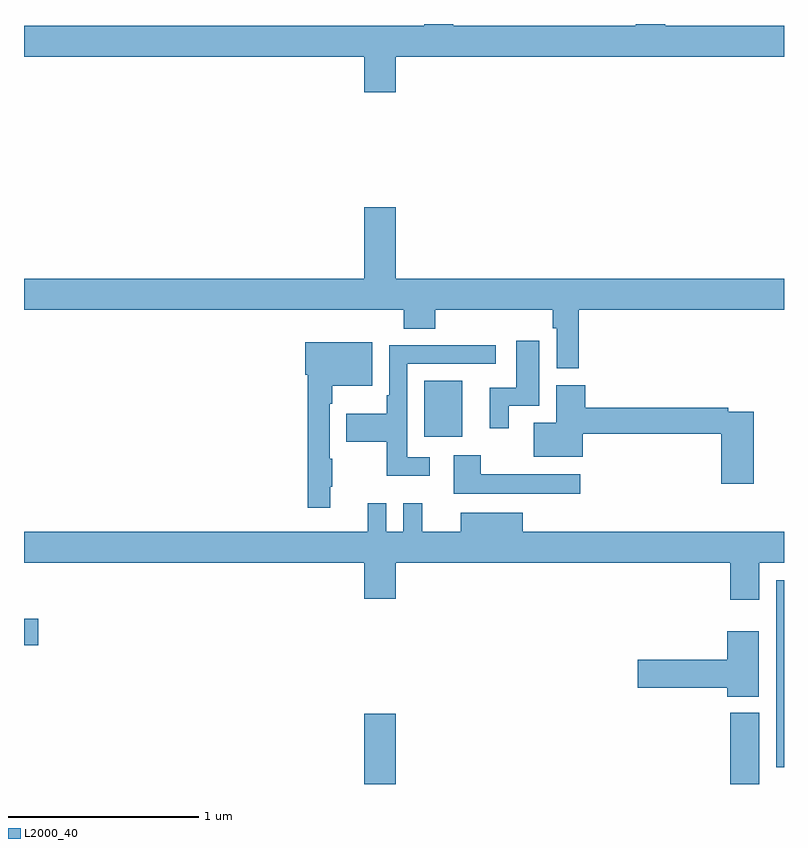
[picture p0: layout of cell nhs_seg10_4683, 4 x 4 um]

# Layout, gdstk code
import gdstk
lib = gdstk.Library(unit=1e-6, precision=1e-09)
def R(c, l, rs):  # rectangles x0, y0, x1, y1
    for r in rs: c.add(gdstk.rectangle(r[:2], r[2:], *l))
def P(c, l, *ps):  # polygons
    for p in ps: c.add(gdstk.Polygon(p, *l))
L2000_40 = (2000, 40)

nhs_seg10_4683 = lib.new_cell('nhs_seg10_4683')
R(nhs_seg10_4683, L2000_40, [(380.792,1284.5,380.956,1284.871), (382.718,1284.5,382.87,1284.874), (382.959,1284.588,383,1285.572), (379,1285.229,379.075,1285.371), (381.107,1286.327,381.307,1286.623)])
P(nhs_seg10_4683, L2000_40, [(380.956,1288.328),(383,1288.328),(383,1288.492),(382.376,1288.492),(382.376,1288.5),(382.219,1288.5),(382.219,1288.492),(381.259,1288.492),(381.259,1288.5),(381.107,1288.5),(381.107,1288.492),(379,1288.492),(379,1288.328),(380.792,1288.328),(380.792,1288.14),(380.956,1288.14)],
  [(381.92,1286.996),(383,1286.996),(383,1287.16),(380.956,1287.16),(380.956,1287.535),(380.792,1287.535),(380.792,1287.16),(379,1287.16),(379,1286.996),(380.999,1286.996),(380.999,1286.897),(381.164,1286.897),(381.164,1286.996),(381.784,1286.996),(381.784,1286.9),(381.804,1286.9),(381.804,1286.688),(381.92,1286.688)],
  [(381.55,1286.49),(381.712,1286.49),(381.712,1286.833),(381.59,1286.833),(381.59,1286.586),(381.452,1286.586),(381.452,1286.373),(381.55,1286.373)],
  [(380.612,1286.065),(380.623,1286.065),(380.623,1286.213),(380.61,1286.213),(380.61,1286.501),(380.623,1286.501),(380.623,1286.597),(380.833,1286.597),(380.833,1286.824),(380.48,1286.824),(380.48,1286.654),(380.494,1286.654),(380.494,1285.953),(380.612,1285.953)],
  [(381.136,1286.22),(381.018,1286.22),(381.018,1286.712),(381.484,1286.712),(381.484,1286.81),(381.247,1286.81),(381.247,1286.808),(380.922,1286.808),(380.922,1286.545),(380.91,1286.545),(380.91,1286.449),(380.695,1286.449),(380.695,1286.302),(380.91,1286.302),(380.91,1286.123),(381.136,1286.123)],
  [(382.84,1286.46),(382.706,1286.46),(382.706,1286.48),(381.953,1286.48),(381.953,1286.599),(381.8,1286.599),(381.8,1286.401),(381.683,1286.401),(381.683,1286.222),(381.94,1286.222),(381.94,1286.344),(382.67,1286.344),(382.67,1286.079),(382.84,1286.079)],
  [(381.928,1286.131),(381.403,1286.131),(381.403,1286.23),(381.263,1286.23),(381.263,1286.027),(381.928,1286.027)],
  [(382.87,1285.664),(383,1285.664),(383,1285.828),(381.625,1285.828),(381.625,1285.927),(381.299,1285.927),(381.299,1285.828),(381.095,1285.828),(381.095,1285.978),(380.997,1285.978),(380.997,1285.828),(380.907,1285.828),(380.907,1285.978),(380.81,1285.978),(380.81,1285.828),(379,1285.828),(379,1285.664),(380.792,1285.664),(380.792,1285.476),(380.956,1285.476),(380.956,1285.664),(382.718,1285.664),(382.718,1285.47),(382.87,1285.47)],
  [(382.867,1285.303),(382.7,1285.303),(382.7,1285.154),(382.23,1285.154),(382.23,1285.007),(382.7,1285.007),(382.7,1284.959),(382.867,1284.959)])

lib.write_gds('nhs_seg10_4683.gds')
